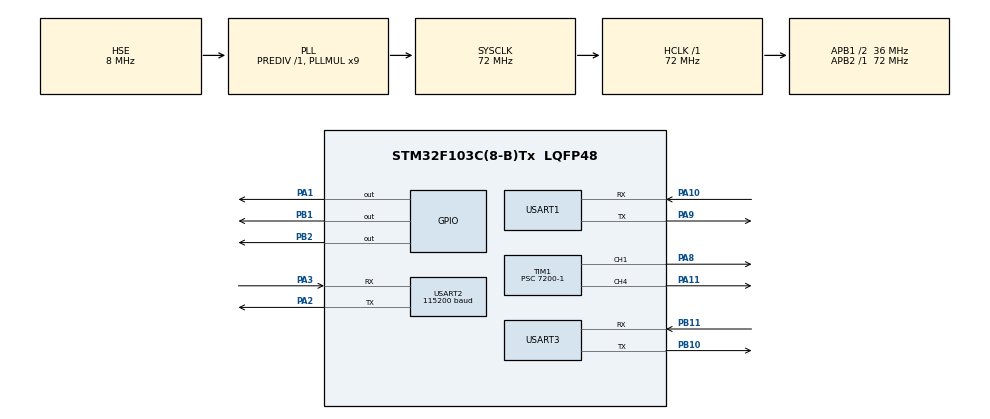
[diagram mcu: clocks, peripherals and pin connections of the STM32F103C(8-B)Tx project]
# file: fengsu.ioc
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Mcu.Family=STM32F1
Mcu.Name=STM32F103C(8-B)Tx
Mcu.Package=LQFP48
NVIC.PriorityGroup=NVIC_PRIORITYGROUP_4
NVIC.USART1_IRQn=true\:0\:0\:false\:false\:true\:true\:true\:true
NVIC.USART2_IRQn=true\:0\:0\:false\:false\:true\:true\:true\:true
PA1.Signal=GPIO_Output
PA10.Mode=Asynchronous
PA10.Signal=USART1_RX
PA11.Signal=S_TIM1_CH4
PA13.Mode=Serial_Wire
PA13.Signal=SYS_JTMS-SWDIO
PA14.Mode=Serial_Wire
PA14.Signal=SYS_JTCK-SWCLK
PA2.Mode=Asynchronous
PA2.Signal=USART2_TX
PA3.Mode=Asynchronous
PA3.Signal=USART2_RX
PA8.Signal=S_TIM1_CH1
PA9.Mode=Asynchronous
PA9.Signal=USART1_TX
PB1.Signal=GPIO_Output
PB10.Mode=Asynchronous
PB10.Signal=USART3_TX
PB11.Mode=Asynchronous
PB11.Signal=USART3_RX
PB2.Signal=GPIO_Output
PD0-OSC_IN.Mode=HSE-External-Oscillator
PD0-OSC_IN.Signal=RCC_OSC_IN
PD1-OSC_OUT.Mode=HSE-External-Oscillator
PD1-OSC_OUT.Signal=RCC_OSC_OUT
ProjectManager.HeapSize=0x200
ProjectManager.StackSize=0x400
ProjectManager.TargetToolchain=MDK-ARM V5.32
RCC.AHBFreq_Value=72000000
RCC.APB1CLKDivider=RCC_HCLK_DIV2
RCC.APB1Freq_Value=36000000
RCC.APB1TimFreq_Value=72000000
RCC.APB2Freq_Value=72000000
RCC.APB2TimFreq_Value=72000000
RCC.HCLKFreq_Value=72000000
RCC.PLLMUL=RCC_PLL_MUL9
RCC.PLLSourceVirtual=RCC_PLLSOURCE_HSE
RCC.SYSCLKFreq_VALUE=72000000
RCC.SYSCLKSource=RCC_SYSCLKSOURCE_PLLCLK
RCC.USBFreq_Value=72000000
SH.S_TIM1_CH1.0=TIM1_CH1,PWM Generation1 CH1
SH.S_TIM1_CH4.0=TIM1_CH4,PWM Generation4 CH4
TIM1.Channel-PWM\ Generation1\ CH1=TIM_CHANNEL_1
TIM1.Channel-PWM\ Generation4\ CH4=TIM_CHANNEL_4
TIM1.Period=100-1
TIM1.Prescaler=7200-1
TIM1.Pulse-PWM\ Generation1\ CH1=30
TIM1.Pulse-PWM\ Generation4\ CH4=30
TIM2.Period=100-1
TIM2.Prescaler=7200-1
USART1.VirtualMode=VM_ASYNC
USART2.BaudRate=115200
USART2.VirtualMode=VM_ASYNC
USART3.VirtualMode=VM_ASYNC
VP_TIM1_VS_ClockSourceINT.Mode=Internal
VP_TIM2_VS_ClockSourceINT.Mode=Internal
board=custom

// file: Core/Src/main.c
/* USER CODE BEGIN Header */
/**
  ******************************************************************************
  * @file           : main.c
  * @brief          : Main program body
  ******************************************************************************
  * @attention
  *
  * Copyright (c) 2025 STMicroelectronics.
  * All rights reserved.
  *
  * This software is licensed under terms that can be found in the LICENSE file
  * in the root directory of this software component.
  * If no LICENSE file comes with this software, it is provided AS-IS.
  *
  ******************************************************************************
  */
/* USER CODE END Header */
#include "main.h"
#include "tim.h"
#include "usart.h"
#include "gpio.h"

/* USER CODE BEGIN Includes */
#include "pwm_controller.h"
#include "rs485.h"
#include "command_Handler.h"
#include "string.h"
#include "stdarg.h"
#include "stdio.h"
#include "Sensor.h"
#include "config_flash.h"

/* USER CODE END Includes */

/* USER CODE BEGIN PTD */
PWM_Controller pwm1;
PWM_Controller pwm2;
RS485_Handle_t hrs485;
RS485_Handle_t hrs485_2;
WindSensor_t  wind_sensor;
uint32_t last_read_time=0;
uint32_t current_time=0;
/* USER CODE END PTD */

/* USER CODE BEGIN PD */
#define RS485_DE_GPIO_PORT GPIOB
#define RS485_DE_PIN GPIO_PIN_1
#define DEVICE_ID 0x01
#define RS485_DE_GPIO_PORT_2 GPIOB
#define RS485_DE_PIN_2 GPIO_PIN_2
#define Sensor_RS485_DEVICE_ID 0x01
#define slave_address 0x01
#define work_led_GPIO_PORT GPIOA
#define work_led__PIN GPIO_PIN_1
/* USER CODE END PD */

void SystemClock_Config(void);

int main(void)
{

  /* MCU Configuration--------------------------------------------------------*/

  /* Reset of all peripherals, Initializes the Flash interface and the Systick. */
  HAL_Init();

  /* Configure the system clock */
  SystemClock_Config();

  /* Initialize all configured peripherals */
  MX_GPIO_Init();
  MX_TIM2_Init();
  MX_USART1_UART_Init();
  MX_USART3_UART_Init();
  MX_USART2_UART_Init();
  MX_TIM1_Init();
  /* USER CODE BEGIN 2 */
	Config_ReadFromFlash();
PWM_Init(&pwm1,&htim1,TIM_CHANNEL_1,1000,1,10000);
PWM_Start(&pwm1);
PWM_Init(&pwm2,&htim1,TIM_CHANNEL_4,1000,1,10000);
PWM_Start(&pwm2);
RS485_Init(&hrs485, &huart1, RS485_DE_GPIO_PORT, RS485_DE_PIN,config_page1.device_address);
RS485_Init(&hrs485_2,&huart2,RS485_DE_GPIO_PORT_2,RS485_DE_PIN_2,Sensor_RS485_DEVICE_ID);
WindSensor_Init(&wind_sensor,&hrs485_2,slave_address);
RegisterAllCommandHandlers(&hrs485);
RS485_StartReceive(&hrs485);
HAL_Delay(1);
  /* USER CODE END 2 */

  /* Infinite loop */
  /* USER CODE BEGIN WHILE */
  while (1)
  {		 // 处理接收到的帧
		 if (hrs485.frame_received) {
        RS485_ProcessReceivedFrame(&hrs485);
			  RS485_StartReceive(&hrs485);
    }
		 // 处理帧错误
		 if (hrs485.frame_error) {
            hrs485.frame_error = false;
            // 重新开始接收
            RS485_StartReceive(&hrs485);
        }
		 // 红灯闪烁
		 current_time=HAL_GetTick();
		 if(current_time-last_read_time>500){
			 HAL_GPIO_TogglePin(work_led_GPIO_PORT,work_led__PIN);
			 last_read_time=current_time;
		 }
		 // 风速传感器
		  if (config_page1.sensor_enable) {
       WindSensor_Update(&wind_sensor);
    }
		  HAL_Delay(1);
    /* USER CODE END WHILE */

  }
}

void SystemClock_Config(void)
{
  RCC_OscInitTypeDef RCC_OscInitStruct = {0};
  RCC_ClkInitTypeDef RCC_ClkInitStruct = {0};

  /** Initializes the RCC Oscillators according to the specified parameters
  * in the RCC_OscInitTypeDef structure.
  */
  RCC_OscInitStruct.OscillatorType = RCC_OSCILLATORTYPE_HSE;
  RCC_OscInitStruct.HSEState = RCC_HSE_ON;
  RCC_OscInitStruct.HSEPredivValue = RCC_HSE_PREDIV_DIV1;
  RCC_OscInitStruct.HSIState = RCC_HSI_ON;
  RCC_OscInitStruct.PLL.PLLState = RCC_PLL_ON;
  RCC_OscInitStruct.PLL.PLLSource = RCC_PLLSOURCE_HSE;
  RCC_OscInitStruct.PLL.PLLMUL = RCC_PLL_MUL9;
  if (HAL_RCC_OscConfig(&RCC_OscInitStruct) != HAL_OK)
  {
    Error_Handler();
  }

  /** Initializes the CPU, AHB and APB buses clocks
  */
  RCC_ClkInitStruct.ClockType = RCC_CLOCKTYPE_HCLK|RCC_CLOCKTYPE_SYSCLK
                              |RCC_CLOCKTYPE_PCLK1|RCC_CLOCKTYPE_PCLK2;
  RCC_ClkInitStruct.SYSCLKSource = RCC_SYSCLKSOURCE_PLLCLK;
  RCC_ClkInitStruct.AHBCLKDivider = RCC_SYSCLK_DIV1;
  RCC_ClkInitStruct.APB1CLKDivider = RCC_HCLK_DIV2;
  RCC_ClkInitStruct.APB2CLKDivider = RCC_HCLK_DIV1;

  if (HAL_RCC_ClockConfig(&RCC_ClkInitStruct, FLASH_LATENCY_2) != HAL_OK)
  {
    Error_Handler();
  }
}

/* USER CODE BEGIN 4 */
void HAL_UART_RxCpltCallback(UART_HandleTypeDef *huart) {
    if (huart->Instance == USART1) {
        RS485_UART_RxCpltCallback(&hrs485);
    }
}

/* USER CODE END 4 */

void Error_Handler(void)
{
  __disable_irq();
  while (1)
  {
  }
}
